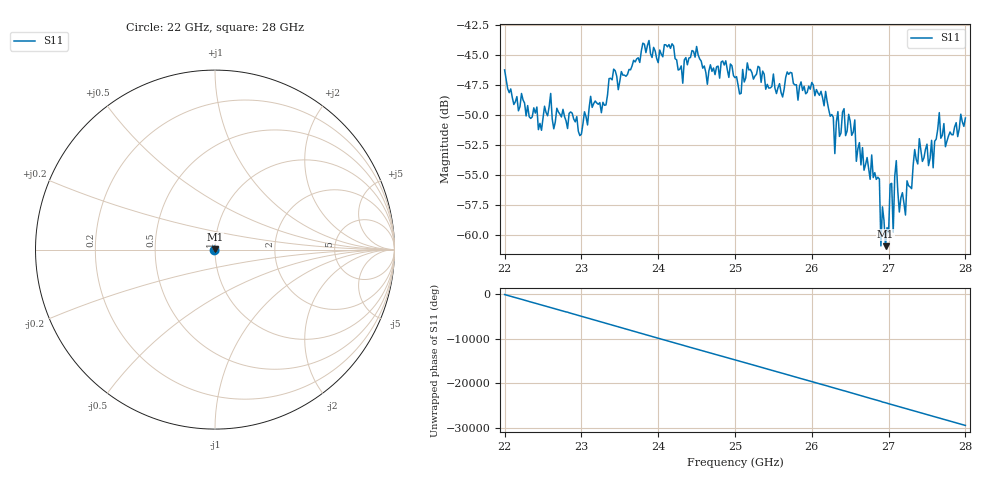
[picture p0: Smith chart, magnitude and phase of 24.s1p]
#  HZ  S  RI  R  50.00
! Rohde & Schwarz ZVA40 4Ports - Version 3.90 - 1145.1110k42 SN: 100403
! Date: 2023-10-04 08:38:05
! Measurement: S12
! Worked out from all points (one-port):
!   301 points, 22 GHz to 28 GHz, reference 50 ohm
!   lowest |S11| = -61.0 dB at 26.96 GHz (marker M1), VSWR 1.00, Z = 50 + j0.0813 ohm
!   |S11| at or under -10 dB: start of sweep to end of sweep
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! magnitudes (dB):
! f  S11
! 22 GHz  -46.2
! 22.44 GHz  -51.2
! 22.76 GHz  -49.5
! 22.98 GHz  -51.7
! 23.5 GHz  -47.2
! 23.88 GHz  -43.8
! 24.26 GHz  -46.2
! 25 GHz  -46.9
! 25.76 GHz  -47.4
! 26.18 GHz  -48.0
! 26.3 GHz  -53.2
! 26.34 GHz  -49.7
! 26.5 GHz  -50.5
! 26.58 GHz  -53.9
! 26.88 GHz  -55.3
! 26.9 GHz  -60.9
! 26.92 GHz  -57.7
! 26.96 GHz  -61.0
! 27.02 GHz  -55.8
! 27.06 GHz  -59.8
! 27.1 GHz  -53.8
! 27.14 GHz  -58.1
! 27.26 GHz  -55.9
! 27.4 GHz  -52.0
! 27.58 GHz  -54.4
! 27.66 GHz  -49.8
! 27.74 GHz  -52.6
! 28 GHz  -50.2
